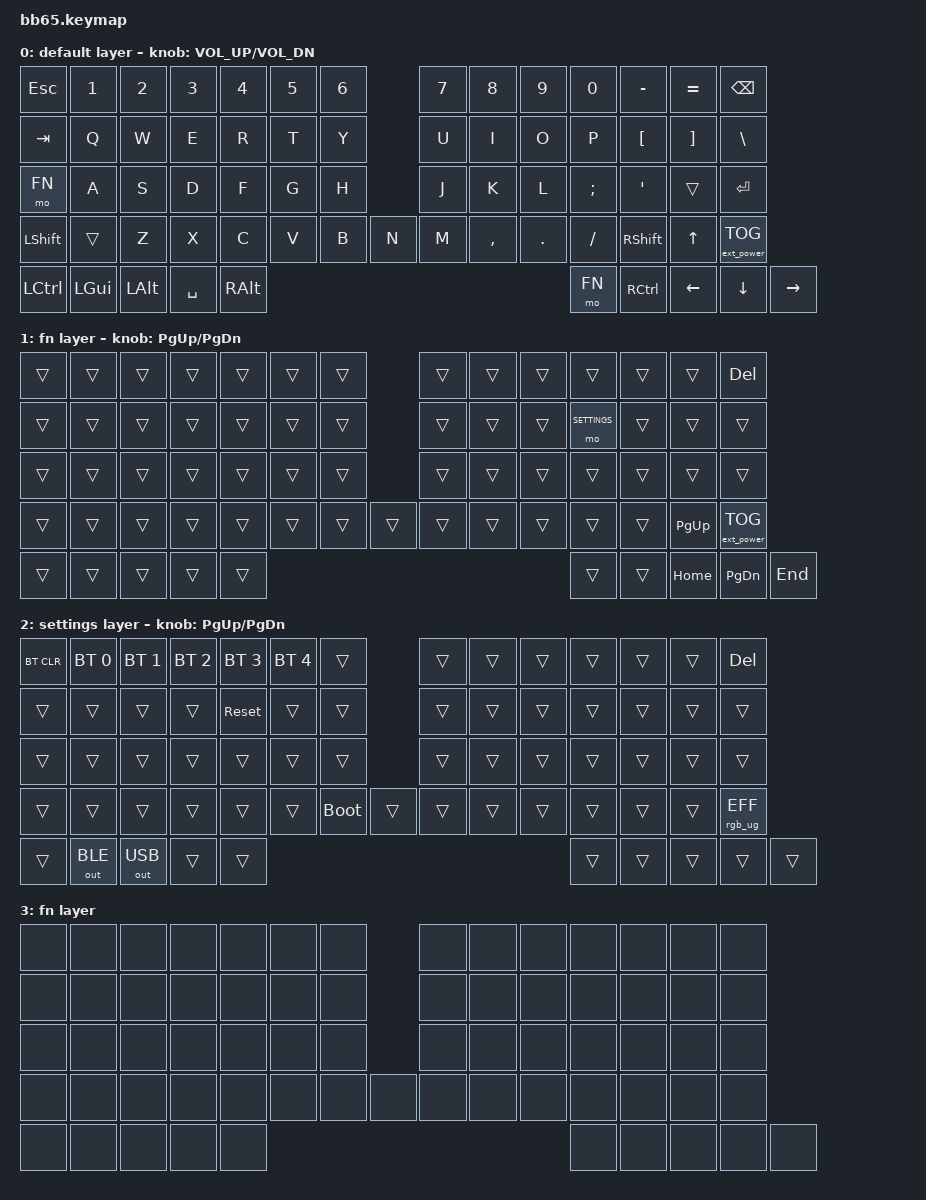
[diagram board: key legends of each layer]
/*
 * Copyright (c) 2023 The ZMK Contributors
 *
 * SPDX-License-Identifier: MIT
 */

/*
 * This is the default keymap. You shouldn't edit it. Changes won't be picked up from here.
 * It exists to give you something to copy back into the config folder if your own keymap is FUBAR.
 */

#include <behaviors.dtsi>
#include <dt-bindings/zmk/keys.h>
#include <dt-bindings/zmk/bt.h>
#include <dt-bindings/zmk/rgb.h>
#include <dt-bindings/zmk/ext_power.h>
#include <dt-bindings/zmk/outputs.h>

#define DEFAULT  0
#define FN       1
#define SETTINGS 2
#define LOCK     3

#define TIMEOUT 300

&encoder_1 {
    status = "okay";
};

/ {
    combos {
        compatible = "zmk,combos";
        combo_btclr {
            timeout-ms = <TIMEOUT>;
            key-positions = <1 6>;
            bindings = <&bt BT_CLR>;
        };
        combo_reset {
            timeout-ms = <TIMEOUT>;
            key-positions = <1 3>;
            bindings = <&sys_reset>;
        };
        combo_bootloader {
            timeout-ms = <TIMEOUT>;
            key-positions = <1 15>;
            bindings = <&bootloader>;
        };
        combo_lock {
            timeout-ms = <TIMEOUT>;
            key-positions = <1 12>;
            bindings = <&tog LOCK>;
        };
        combo_bt_nxt {
            timeout-ms = <TIMEOUT>;
            key-positions = <1 4>;
            bindings = <&bt BT_NXT>;
        };
    };

    keymap0: keymap {
        compatible = "zmk,keymap";

        default_layer {
            label = "default layer";
            bindings = <
                &kp ESC             &kp N1   &kp N2 &kp N3 &kp N4   &kp N5 &kp N6 &kp N7 &kp N8    &kp N9   &kp N0    &kp MINUS &kp EQUAL &kp BSPC
                &kp TAB             &kp Q    &kp W  &kp E  &kp R    &kp T  &kp Y  &kp U  &kp I     &kp O    &kp P     &kp LBKT  &kp RBKT  &kp BSLH
                &mo FN              &kp A    &kp S  &kp D  &kp F    &kp G  &kp H  &kp J  &kp K     &kp L    &kp SEMI  &kp APOS  &trans    &kp ENTER
                &kp LSHFT &trans    &kp Z    &kp X  &kp C  &kp V    &kp B  &kp N  &kp M  &kp COMMA &kp DOT  &kp FSLH  &kp RSHFT           &kp UP    &ext_power EP_TOG
                &kp LCTRL &kp LGUI &kp LALT                         &kp SPACE                      &kp RALT &mo FN    &kp RCTRL &kp LEFT  &kp DOWN  &kp RIGHT
            >;
            sensor-bindings = <&inc_dec_kp C_VOL_UP C_VOL_DN>;
        };

        fn_layer {
            label = "fn layer";
            bindings = <
                &trans        &trans &trans &trans &trans &trans &trans &trans &trans &trans &trans       &trans &trans   &kp DEL
                &trans        &trans &trans &trans &trans &trans &trans &trans &trans &trans &mo SETTINGS &trans &trans   &trans
                &trans        &trans &trans &trans &trans &trans &trans &trans &trans &trans &trans       &trans &trans   &trans
                &trans &trans &trans &trans &trans &trans &trans &trans &trans &trans &trans &trans       &trans          &kp PG_UP &ext_power EP_TOG
                &trans &trans &trans          &trans                           &trans &trans &trans              &kp HOME &kp PG_DN &kp END
            >;
            sensor-bindings = <&inc_dec_kp PG_UP PG_DN>;
        };

        setting_layer {
            label = "settings layer";
            bindings = <
                &bt BT_CLR        &bt BT_SEL 0 &bt BT_SEL 1 &bt BT_SEL 2 &bt BT_SEL 3 &bt BT_SEL 4 &trans &trans &trans &trans &trans &trans &trans &kp DEL
                &trans            &trans       &trans       &trans       &sys_reset   &trans       &trans &trans &trans &trans &trans &trans &trans &trans
                &trans            &trans       &trans       &trans       &trans       &trans       &trans &trans &trans &trans &trans &trans &trans &trans
                &trans     &trans &trans       &trans       &trans       &trans       &bootloader  &trans &trans &trans &trans &trans &trans        &trans &rgb_ug RGB_EFF
                &trans     &out OUT_BLE        &out OUT_USB                           &trans                            &trans &trans &trans &trans &trans &trans
            >;
            sensor-bindings = <&inc_dec_kp PG_UP PG_DN>;
        };

        lock_layer {
            label = "fn layer";
            bindings = <
                &none       &none &none &none &none &none &none &none &none &none &none &none &none &none
                &none       &none &none &none &none &none &none &none &none &none &none &none &none &none
                &none       &none &none &none &none &none &none &none &none &none &none &none &none &none
                &none &none &none &none &none &none &none &none &none &none &none &none &none       &none &none
                &none &none &none                   &none                   &none &none &none &none &none &none
            >;
        };
    };
};
